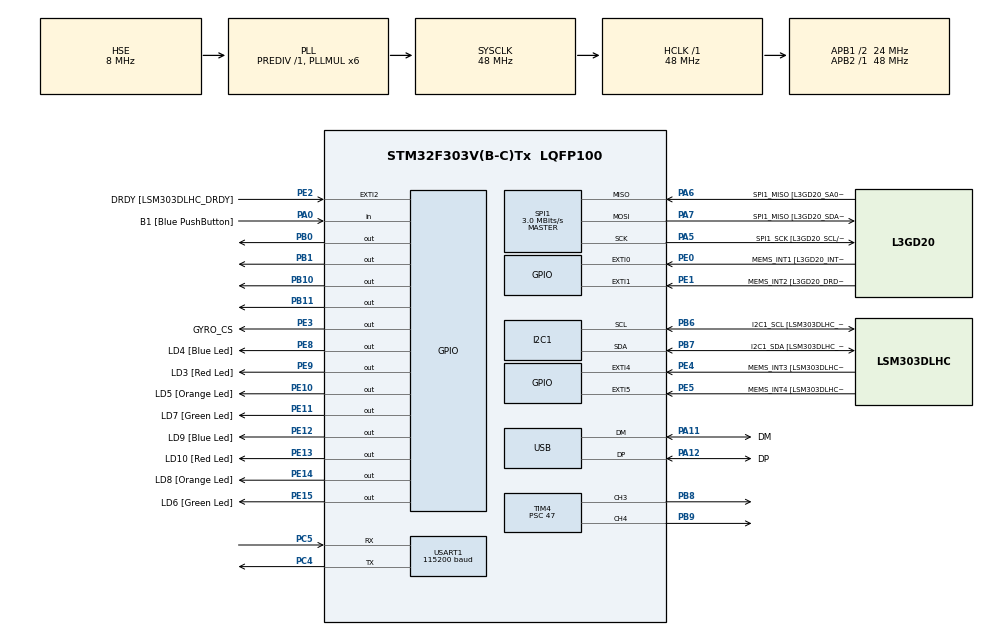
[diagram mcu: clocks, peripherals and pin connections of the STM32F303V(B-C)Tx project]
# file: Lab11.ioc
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I2C1.Timing=0x00201D2B
I2C1.Timing-I2C=0x2000090E
Mcu.Family=STM32F3
Mcu.Name=STM32F303V(B-C)Tx
Mcu.Package=LQFP100
NVIC.PriorityGroup=NVIC_PRIORITYGROUP_0
NVIC.TIM2_IRQn=true\:0\:0\:false\:false\:true\:true\:true\:true
NVIC.USB_LP_CAN_RX0_IRQn=true\:0\:0\:false\:false\:true\:false\:true\:true
PA0.GPIO_Label=B1 [Blue PushButton]
PA0.Signal=GPIO_Input
PA11.GPIO_Label=DM
PA11.Mode=Device
PA11.Signal=USB_DM
PA12.GPIO_Label=DP
PA12.Mode=Device
PA12.Signal=USB_DP
PA13.GPIO_Label=SWDIO
PA13.Mode=Serial_Wire
PA13.Signal=SYS_JTMS-SWDIO
PA14.GPIO_Label=SWCLK
PA14.Mode=Serial_Wire
PA14.Signal=SYS_JTCK-SWCLK
PA5.GPIO_Label=SPI1_SCK [L3GD20_SCL/SPC]
PA5.Mode=Full_Duplex_Master
PA5.Signal=SPI1_SCK
PA6.GPIO_Label=SPI1_MISO [L3GD20_SA0/SDO]
PA6.Mode=Full_Duplex_Master
PA6.Signal=SPI1_MISO
PA7.GPIO_Label=SPI1_MISO [L3GD20_SDA/SDI/SDO]
PA7.Mode=Full_Duplex_Master
PA7.Signal=SPI1_MOSI
PB0.Signal=GPIO_Output
PB1.Signal=GPIO_Output
PB10.Signal=GPIO_Output
PB11.Signal=GPIO_Output
PB3.GPIO_Label=SWO
PB3.Signal=SYS_JTDO-TRACESWO
PB6.GPIO_Label=I2C1_SCL [LSM303DLHC_SCL]
PB6.GPIO_Pu=GPIO_PULLUP
PB6.Mode=I2C
PB6.Signal=I2C1_SCL
PB7.GPIO_Label=I2C1_SDA [LSM303DLHC_SDA]
PB7.GPIO_Pu=GPIO_PULLUP
PB7.Mode=I2C
PB7.Signal=I2C1_SDA
PB8.Signal=S_TIM4_CH3
PB9.Signal=S_TIM4_CH4
PC14-OSC32_IN.GPIO_Label=OSC32_IN
PC14-OSC32_IN.Signal=RCC_OSC32_IN
PC15-OSC32_OUT.GPIO_Label=OSC32_OUT
PC15-OSC32_OUT.Signal=RCC_OSC32_OUT
PC4.Mode=Asynchronous
PC4.Signal=USART1_TX
PC5.Mode=Asynchronous
PC5.Signal=USART1_RX
PE0.GPIO_Label=MEMS_INT1 [L3GD20_INT1]
PE0.GPIO_ModeDefaultEXTI=GPIO_MODE_EVT_RISING
PE0.Signal=GPXTI0
PE1.GPIO_Label=MEMS_INT2 [L3GD20_DRDY/INT2]
PE1.GPIO_ModeDefaultEXTI=GPIO_MODE_EVT_RISING
PE1.Signal=GPXTI1
PE10.GPIO_Label=LD5 [Orange Led]
PE10.Signal=GPIO_Output
PE11.GPIO_Label=LD7 [Green Led]
PE11.Signal=GPIO_Output
PE12.GPIO_Label=LD9 [Blue Led]
PE12.Signal=GPIO_Output
PE13.GPIO_Label=LD10 [Red Led]
PE13.Signal=GPIO_Output
PE14.GPIO_Label=LD8 [Orange Led]
PE14.Signal=GPIO_Output
PE15.GPIO_Label=LD6 [Green Led]
PE15.Signal=GPIO_Output
PE2.GPIO_Label=DRDY [LSM303DLHC_DRDY]
PE2.GPIO_ModeDefaultEXTI=GPIO_MODE_EVT_RISING
PE2.Signal=GPXTI2
PE3.GPIO_Label=GYRO_CS
PE3.PinState=GPIO_PIN_SET
PE3.Signal=GPIO_Output
PE4.GPIO_Label=MEMS_INT3 [LSM303DLHC_INT1]
PE4.GPIO_ModeDefaultEXTI=GPIO_MODE_EVT_RISING
PE4.Signal=GPXTI4
PE5.GPIO_Label=MEMS_INT4 [LSM303DLHC_INT2]
PE5.GPIO_ModeDefaultEXTI=GPIO_MODE_EVT_RISING
PE5.Signal=GPXTI5
PE8.GPIO_Label=LD4 [Blue Led]
PE8.Signal=GPIO_Output
PE9.GPIO_Label=LD3 [Red Led]
PE9.Signal=GPIO_Output
PF0-OSC_IN.GPIO_Label=OSC_IN
PF0-OSC_IN.Mode=HSE-External-Clock-Source
PF0-OSC_IN.Signal=RCC_OSC_IN
PF1-OSC_OUT.GPIO_Label=OSC_OUT
PF1-OSC_OUT.Signal=RCC_OSC_OUT
ProjectManager.HeapSize=0x200
ProjectManager.StackSize=0x400
ProjectManager.TargetToolchain=CMake
RCC.AHBFreq_Value=48000000
RCC.APB1CLKDivider=RCC_HCLK_DIV2
RCC.APB1Freq_Value=24000000
RCC.APB1TimFreq_Value=48000000
RCC.APB2Freq_Value=48000000
RCC.APB2TimFreq_Value=48000000
RCC.CortexFreq_Value=48000000
RCC.HCLKFreq_Value=48000000
RCC.HSE_VALUE=8000000
RCC.HSI_VALUE=8000000
RCC.LSE_VALUE=32768
RCC.PLLMUL=RCC_PLL_MUL6
RCC.SYSCLKFreq_VALUE=48000000
RCC.SYSCLKSourceVirtual=RCC_SYSCLKSOURCE_PLLCLK
RCC.USBFreq_Value=48000000
SH.S_TIM4_CH3.0=TIM4_CH3,PWM Generation3 CH3
SH.S_TIM4_CH4.0=TIM4_CH4,PWM Generation4 CH4
SPI1.BaudRatePrescaler=SPI_BAUDRATEPRESCALER_16
SPI1.BaudRatePrescaler-Full_Duplex_Master=SPI_BAUDRATEPRESCALER_2
SPI1.CLKPhase=SPI_PHASE_2EDGE
SPI1.CLKPolarity=SPI_POLARITY_HIGH
SPI1.CalculateBaudRate=3.0 MBits/s
SPI1.CalculateBaudRate-Full_Duplex_Master=24.0 MBits/s
SPI1.DataSize=SPI_DATASIZE_8BIT
SPI1.Direction=SPI_DIRECTION_2LINES
SPI1.Mode=SPI_MODE_MASTER
SPI1.Mode-Full_Duplex_Master=SPI_MODE_MASTER
SPI1.VirtualType=VM_MASTER
TIM2.Period=9999
TIM2.Prescaler=47
TIM4.Channel-PWM\ Generation3\ CH3=TIM_CHANNEL_3
TIM4.Channel-PWM\ Generation4\ CH4=TIM_CHANNEL_4
TIM4.Period=999
TIM4.Prescaler=47
USART1.BaudRate=115200
USART1.VirtualMode-Asynchronous=VM_ASYNC
USB_DEVICE.CLASS_NAME_FS=CDC
USB_DEVICE.VirtualMode=Cdc
USB_DEVICE.VirtualModeFS=Cdc_FS
VP_TIM2_VS_ClockSourceINT.Mode=Internal
VP_USB_DEVICE_VS_USB_DEVICE_CDC_FS.Mode=CDC_FS
board=STM32F3DISCOVERY

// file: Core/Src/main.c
/* USER CODE BEGIN Header */
/**
  ******************************************************************************
  * @file           : main.c
  * @brief          : Main program body
  ******************************************************************************
  * @attention
  *
  * Copyright (c) 2026 STMicroelectronics.
  * All rights reserved.
  *
  * This software is licensed under terms that can be found in the LICENSE file
  * in the root directory of this software component.
  * If no LICENSE file comes with this software, it is provided AS-IS.
  *
  ******************************************************************************
  */
/* USER CODE END Header */
#include "main.h"
#include "usb_device.h"

/* USER CODE BEGIN Includes */
#include <stdio.h>
#include <math.h>
#include <stdint.h>
#include <string.h>
/* USER CODE END Includes */

/* USER CODE BEGIN PTD */
typedef struct {
    float ax, ay, az;
    float offset_x, offset_y, offset_z;
    float roll, pitch;
} LSM_Data;
/* USER CODE END PTD */

/* USER CODE BEGIN PD */
// Accelerometer definitions, retained from Lab 9
#define LSM303_ADDR (0x19U << 1)
#define WHO_AM_I_REG 0x0FU
#define CTRL_REG1_A 0x20U
#define CTRL_REG4_A 0x23U
#define OUT_X_L_A 0x28U
#define ACC_G_PER_LSB 0.004f
#define RAD_TO_DEG 57.2957795f

// Gyroscope definitions, retained from Lab 8
#define GYRO_CTRL_REG1 0x20U
#define GYRO_OUT_X_L 0x28U
#define GYRO_READ_BIT 0x80U
#define GYRO_SENSITIVITY 0.00875f
#define LOOP_PERIOD_MS 10U
#define FILTER_ALPHA 0.98f

// ===== PD CONTROLLER =====
#define KP 30.0f
#define KD 0.5f

#define MAX_PWM 350
#define MIN_PWM 0

#define ANGLE_DEADBAND 0.5f
#define SAFETY_ANGLE 25.0f
/* USER CODE END PD */

I2C_HandleTypeDef hi2c1;

SPI_HandleTypeDef hspi1;

TIM_HandleTypeDef htim2;
TIM_HandleTypeDef htim4;

UART_HandleTypeDef huart1;

/* USER CODE BEGIN PV */
static LSM_Data sensor = {0};
static float x_dps = 0.0f, y_dps = 0.0f, z_dps = 0.0f;
static float gyro_x_bias = 0.0f;
static float gyro_angle = 0.0f;
static float filtered_angle = 0.0f;
static float acc_angle = 0.0f;
static char uart_buf[128];
static float gyro_y_bias = 0.0f;
static float target_angle = 0.0f;
static int16_t motor_pwm = 0;
/* USER CODE END PV */

void SystemClock_Config(void);
static void MX_GPIO_Init(void);
static void MX_I2C1_Init(void);
static void MX_SPI1_Init(void);
static void MX_TIM2_Init(void);
static void MX_USART1_UART_Init(void);
static void MX_TIM4_Init(void);

/* USER CODE BEGIN 0 */

  uint8_t gyro_read_register(uint8_t reg)
{
    uint8_t tx[2] = {
        (uint8_t)(reg | 0x80),
        0x00
    };

    uint8_t rx[2] = {0};

    HAL_GPIO_WritePin(GPIOE, GPIO_PIN_3, GPIO_PIN_RESET);

    HAL_StatusTypeDef status = HAL_SPI_TransmitReceive(
        &hspi1,
        tx,
        rx,
        2,
        100
    );

    HAL_GPIO_WritePin(GPIOE, GPIO_PIN_3, GPIO_PIN_SET);

    if (status != HAL_OK)
    {
        return 0x00;
    }

    return rx[1];
}
  static HAL_StatusTypeDef Init_LSM(void)
  {
      uint8_t config = 0x67;  // 200 Hz, all axes enabled, normal mode
      if (HAL_I2C_Mem_Write(&hi2c1, LSM303_ADDR, CTRL_REG1_A,
                            I2C_MEMADD_SIZE_8BIT, &config, 1, 100) != HAL_OK)
          return HAL_ERROR;

      config = 0x00;         // +/-2g, normal resolution
      if (HAL_I2C_Mem_Write(&hi2c1, LSM303_ADDR, CTRL_REG4_A,
                            I2C_MEMADD_SIZE_8BIT, &config, 1, 100) != HAL_OK)
          return HAL_ERROR;

      HAL_Delay(50);
      return HAL_OK;
  }

  static HAL_StatusTypeDef Read_LSM(LSM_Data *s)
  {
      uint8_t data[6];
      // Bit 7 requests sequential register-address increment.
      if (HAL_I2C_Mem_Read(&hi2c1, LSM303_ADDR, OUT_X_L_A | 0x80U,
                          I2C_MEMADD_SIZE_8BIT, data, 6, 100) != HAL_OK)
          return HAL_ERROR;

      int16_t raw_x = (int16_t)(((uint16_t)data[1] << 8) | data[0]);
      int16_t raw_y = (int16_t)(((uint16_t)data[3] << 8) | data[2]);
      int16_t raw_z = (int16_t)(((uint16_t)data[5] << 8) | data[4]);

      // LSM303DLHC normal mode: signed 10-bit values left-aligned in 16 bits.
      // Integer division by 64 is used to avoid implementation-specific right
      // shifting of negative signed integers.
      s->ax = (raw_x / 64) * ACC_G_PER_LSB - s->offset_x;
      s->ay = (raw_y / 64) * ACC_G_PER_LSB - s->offset_y;
      s->az = (raw_z / 64) * ACC_G_PER_LSB - s->offset_z;

      s->roll = atan2f(s->ay, sqrtf(s->ax*s->ax + s->az*s->az)) * RAD_TO_DEG;
      s->pitch = atan2f(-s->ax, sqrtf(s->ay*s->ay + s->az*s->az)) * RAD_TO_DEG;
      return HAL_OK;
  }

  static HAL_StatusTypeDef Offset_LSM(LSM_Data *s)
  {
      float sx = 0, sy = 0, sz = 0;
      const int samples = 20;
      s->offset_x = s->offset_y = s->offset_z = 0.0f;

      for (int i = 0; i < samples; ++i)
      {
          if (Read_LSM(s) != HAL_OK)
              return HAL_ERROR;
          sx += s->ax;
          sy += s->ay;
          sz += s->az;
          HAL_Delay(20);
      }
      // Calibrate only while the board is flat and motionless.
      s->offset_x = sx / samples;
      s->offset_y = sy / samples;
      float avg_z = sz / samples;
      s->offset_z = avg_z - ((avg_z >= 0.0f) ? 1.0f : -1.0f);
      return HAL_OK;
  }

// Lab 8 SPI gyroscope functions, adapted for compact 6-byte reads.
static HAL_StatusTypeDef gyro_write_register(uint8_t reg, uint8_t value)
{
    uint8_t tx[2] = {reg, value};
    HAL_GPIO_WritePin(GPIOE, GPIO_PIN_3, GPIO_PIN_RESET);
    HAL_StatusTypeDef rc = HAL_SPI_Transmit(&hspi1, tx, 2, 100);
    HAL_GPIO_WritePin(GPIOE, GPIO_PIN_3, GPIO_PIN_SET);
    return rc;
}

static HAL_StatusTypeDef gyro_read_xyz(void)
{
    // Read X-axis
    uint8_t x_low  = gyro_read_register(0x28);
    uint8_t x_high = gyro_read_register(0x29);

    // Read Y-axis
    uint8_t y_low  = gyro_read_register(0x2A);
    uint8_t y_high = gyro_read_register(0x2B);

    // Read Z-axis
    uint8_t z_low  = gyro_read_register(0x2C);
    uint8_t z_high = gyro_read_register(0x2D);

    // Combine bytes
    int16_t raw_x = (int16_t)(
        ((uint16_t)x_high << 8) | x_low
    );

    int16_t raw_y = (int16_t)(
        ((uint16_t)y_high << 8) | y_low
    );

    int16_t raw_z = (int16_t)(
        ((uint16_t)z_high << 8) | z_low
    );

    // Convert to degrees per second
    x_dps = raw_x * GYRO_SENSITIVITY;
    y_dps = raw_y * GYRO_SENSITIVITY;
    z_dps = raw_z * GYRO_SENSITIVITY;

    return HAL_OK;
}

static HAL_StatusTypeDef calibrate_gyro_x(void)
{
    float sum = 0.0f;
    for (unsigned i = 0; i < 100; ++i) {
        if (gyro_read_xyz() != HAL_OK) return HAL_ERROR;
        sum += x_dps;
        HAL_Delay(10);
    }
    gyro_x_bias = sum / 100.0f;
    return HAL_OK;
}

static HAL_StatusTypeDef calibrate_gyro_y(void)
{
    float sum = 0.0f;

    for (unsigned i = 0; i < 100; i++)
    {
        if (gyro_read_xyz() != HAL_OK)
        {
            return HAL_ERROR;
        }

        sum += y_dps;

        HAL_Delay(10);
    }

    gyro_y_bias = sum / 100.0f;

    return HAL_OK;
}

// static void print_angles(void)
// {
//     int n = snprintf(
//         uart_buf,
//         sizeof(uart_buf),
//         "%.2f,%.2f,%.2f\r\n",
//         (double)acc_angle,
//         (double)gyro_angle,
//         (double)filtered_angle
//     );

//     if (n > 0 && n < (int)sizeof(uart_buf))
//     {
//         HAL_UART_Transmit(
//             &huart1,
//             (uint8_t *)uart_buf,
//             (uint16_t)n,
//             100
//         );
//     }
// }

static void print_angles(void)
{
    float gy = -(y_dps - gyro_y_bias);

    int n = snprintf(
    uart_buf,
    sizeof(uart_buf),
    "Target: %.2f | Angle: %.2f | Gyro: %.2f | PWM: %d\r\n",
    (double)target_angle,
    (double)filtered_angle,
    (double)gy,
    (int)motor_pwm
);

    if (n > 0 && n < (int)sizeof(uart_buf))
    {
        HAL_UART_Transmit(
            &huart1,
            (uint8_t *)uart_buf,
            (uint16_t)n,
            100
        );
    }
}

void Motor_Control(int16_t pwm)
{
    // Limit PWM
    if (pwm > MAX_PWM)
        pwm = MAX_PWM;

    if (pwm < -MAX_PWM)
        pwm = -MAX_PWM;

    // Stop motors
    if (pwm == 0)
    {
        __HAL_TIM_SET_COMPARE(&htim4, TIM_CHANNEL_3, 0);
        __HAL_TIM_SET_COMPARE(&htim4, TIM_CHANNEL_4, 0);

        HAL_GPIO_WritePin(GPIOB,
                          GPIO_PIN_0 | GPIO_PIN_1 |
                          GPIO_PIN_10 | GPIO_PIN_11,
                          GPIO_PIN_RESET);
        return;
    }

    // Forward
    if (pwm > 0)
    {
        HAL_GPIO_WritePin(GPIOB, GPIO_PIN_0, GPIO_PIN_SET);
        HAL_GPIO_WritePin(GPIOB, GPIO_PIN_1, GPIO_PIN_RESET);

        HAL_GPIO_WritePin(GPIOB, GPIO_PIN_10, GPIO_PIN_SET);
        HAL_GPIO_WritePin(GPIOB, GPIO_PIN_11, GPIO_PIN_RESET);
    }
    // Backward
    else
    {
        HAL_GPIO_WritePin(GPIOB, GPIO_PIN_0, GPIO_PIN_RESET);
        HAL_GPIO_WritePin(GPIOB, GPIO_PIN_1, GPIO_PIN_SET);

        HAL_GPIO_WritePin(GPIOB, GPIO_PIN_10, GPIO_PIN_RESET);
        HAL_GPIO_WritePin(GPIOB, GPIO_PIN_11, GPIO_PIN_SET);

        pwm = -pwm;
    }

    __HAL_TIM_SET_COMPARE(&htim4, TIM_CHANNEL_3, pwm);
    __HAL_TIM_SET_COMPARE(&htim4, TIM_CHANNEL_4, pwm);
}

/* USER CODE END 0 */

int main(void)
{

  /* MCU Configuration--------------------------------------------------------*/

  /* Reset of all peripherals, Initializes the Flash interface and the Systick. */
  HAL_Init();

  /* Configure the system clock */
  SystemClock_Config();

  /* Initialize all configured peripherals */
  MX_GPIO_Init();
  MX_I2C1_Init();
  MX_SPI1_Init();
  MX_TIM2_Init();
  MX_USB_DEVICE_Init();
  MX_USART1_UART_Init();
  MX_TIM4_Init();
  /* USER CODE BEGIN 2 */
HAL_Delay(100);

// Check accelerometer
uint8_t id = 0;

if (HAL_I2C_Mem_Read(
        &hi2c1,
        LSM303_ADDR,
        WHO_AM_I_REG,
        I2C_MEMADD_SIZE_8BIT,
        &id,
        1,
        100
    ) != HAL_OK || id != 0x33)
{
    Error_Handler();
}

// Initialize accelerometer
if (Init_LSM() != HAL_OK)
{
    Error_Handler();
}

// Initialize gyroscope
if (gyro_write_register(GYRO_CTRL_REG1, 0x8F) != HAL_OK)
{
    Error_Handler();
}

HAL_Delay(100);

// Temporary: skip flat-board accelerometer offset calibration
sensor.offset_x = 0.0f;
sensor.offset_y = 0.0f;
sensor.offset_z = 0.0f;

if (calibrate_gyro_y() != HAL_OK)
{
    Error_Handler();
}

// Initial angle
if (Read_LSM(&sensor) != HAL_OK)
{
    Error_Handler();
}

acc_angle = sensor.pitch;

filtered_angle = acc_angle;
gyro_angle = acc_angle;

// ===== AUTOMATIC UPRIGHT REFERENCE =====
// Robot must be upright and stationary during startup.

// ===== AUTOMATIC TARGET ANGLE CALIBRATION =====
float angle_sum = 0.0f;

for (int i = 0; i < 100; i++)
{
    if (Read_LSM(&sensor) != HAL_OK)
    {
        Error_Handler();
    }

    angle_sum += sensor.pitch;

    HAL_Delay(10);
}

target_angle = angle_sum / 100.0f;

// Initialize filter at the reference angle
acc_angle = target_angle;
filtered_angle = target_angle;
gyro_angle = target_angle;

// Sampling variables
uint32_t last_sample_ms = HAL_GetTick();
uint32_t next_sample_ms = last_sample_ms + LOOP_PERIOD_MS;

unsigned print_counter = 0;

HAL_TIM_PWM_Start(&htim4, TIM_CHANNEL_3);
HAL_TIM_PWM_Start(&htim4, TIM_CHANNEL_4);

motor_pwm = 0;
Motor_Control(0);

/* USER CODE END 2 */

  /* Infinite loop */
  while (1)
  {

    /* USER CODE BEGIN 3 */
    uint32_t now = HAL_GetTick();

    if ((int32_t)(now - next_sample_ms) >= 0)
    {
        // Calculate elapsed time
        float dt = (now - last_sample_ms) * 0.001f;

        last_sample_ms = now;

        next_sample_ms += LOOP_PERIOD_MS;

        if ((int32_t)(now - next_sample_ms) >= 0)
        {
            next_sample_ms = now + LOOP_PERIOD_MS;
        }

        // Read accelerometer and gyroscope
        if (Read_LSM(&sensor) != HAL_OK ||
            gyro_read_xyz() != HAL_OK)
        {
            Error_Handler();
        }

        // Accelerometer tilt angle
        acc_angle = sensor.pitch;

        // Remove gyroscope bias
        float gy = -(y_dps - gyro_y_bias);
        gyro_angle += gy * dt;

        filtered_angle = FILTER_ALPHA * (filtered_angle + gy * dt)+ (1.0f - FILTER_ALPHA) * acc_angle;

        // Print every 10 samples
        if (++print_counter >= 10U)
        {
            print_counter = 0;
            print_angles();
        }

// ===== PD BALANCING CONTROLLER =====

float error = target_angle - filtered_angle;
float control = KP * error - KD * gy;

if (fabsf(error) > SAFETY_ANGLE ||
    fabsf(error) < ANGLE_DEADBAND)
{
    motor_pwm = 0;
    Motor_Control(0);
}
else
{
    int16_t pwm = (int16_t)control;

    // Limit maximum PWM
    if (pwm > MAX_PWM)  pwm = MAX_PWM;
    if (pwm < -MAX_PWM) pwm = -MAX_PWM;

    // Minimum effective PWM
    if (pwm > 0 && pwm < 300)
        pwm = 300;
    else if (pwm < 0 && pwm > -300)
        pwm = -300;

    // Keep the sign that passed your direction test
    //motor_pwm = -pwm;
Motor_Control(pwm);
}

// ===== MOTOR PWM TEST =====

// Motor_Control(300);
// HAL_Delay(1000);

// Motor_Control(0);
// HAL_Delay(2000);
  }
    // if (gyro_read_xyz() == HAL_OK)
    // {
    //     int len = snprintf(
    //         uart_buf,
    //         sizeof(uart_buf),
    //         "%.2f,%.2f,%.2f\r\n",
    //         (double)x_dps,
    //         (double)y_dps,
    //         (double)z_dps
    //     );

    //     if (len > 0 && len < sizeof(uart_buf))
    //     {
    //         HAL_UART_Transmit(
    //             &huart1,
    //             (uint8_t *)uart_buf,
    //             (uint16_t)len,
    //             100
    //         );
    //     }
    // }

    // // Toggle LD3 (PE9)
    // HAL_GPIO_TogglePin(GPIOE, GPIO_PIN_9);

    // // UART test
    // const char msg[] = "HELLO STM32\r\n";

    // HAL_UART_Transmit(
    //     &huart1,
    //     (uint8_t *)msg,
    //     sizeof(msg) - 1,
    //     100
    // );

    // HAL_Delay(500);

}
  /* USER CODE END 3 */
}

void SystemClock_Config(void)
{
  RCC_OscInitTypeDef RCC_OscInitStruct = {0};
  RCC_ClkInitTypeDef RCC_ClkInitStruct = {0};
  RCC_PeriphCLKInitTypeDef PeriphClkInit = {0};

  /** Initializes the RCC Oscillators according to the specified parameters
  * in the RCC_OscInitTypeDef structure.
  */
  RCC_OscInitStruct.OscillatorType = RCC_OSCILLATORTYPE_HSI|RCC_OSCILLATORTYPE_HSE;
  RCC_OscInitStruct.HSEState = RCC_HSE_BYPASS;
  RCC_OscInitStruct.HSEPredivValue = RCC_HSE_PREDIV_DIV1;
  RCC_OscInitStruct.HSIState = RCC_HSI_ON;
  RCC_OscInitStruct.HSICalibrationValue = RCC_HSICALIBRATION_DEFAULT;
  RCC_OscInitStruct.PLL.PLLState = RCC_PLL_ON;
  RCC_OscInitStruct.PLL.PLLSource = RCC_PLLSOURCE_HSE;
  RCC_OscInitStruct.PLL.PLLMUL = RCC_PLL_MUL6;
  if (HAL_RCC_OscConfig(&RCC_OscInitStruct) != HAL_OK)
  {
    Error_Handler();
  }

  /** Initializes the CPU, AHB and APB buses clocks
  */
  RCC_ClkInitStruct.ClockType = RCC_CLOCKTYPE_HCLK|RCC_CLOCKTYPE_SYSCLK
                              |RCC_CLOCKTYPE_PCLK1|RCC_CLOCKTYPE_PCLK2;
  RCC_ClkInitStruct.SYSCLKSource = RCC_SYSCLKSOURCE_PLLCLK;
  RCC_ClkInitStruct.AHBCLKDivider = RCC_SYSCLK_DIV1;
  RCC_ClkInitStruct.APB1CLKDivider = RCC_HCLK_DIV2;
  RCC_ClkInitStruct.APB2CLKDivider = RCC_HCLK_DIV1;

  if (HAL_RCC_ClockConfig(&RCC_ClkInitStruct, FLASH_LATENCY_1) != HAL_OK)
  {
    Error_Handler();
  }
  PeriphClkInit.PeriphClockSelection = RCC_PERIPHCLK_USB|RCC_PERIPHCLK_USART1
                              |RCC_PERIPHCLK_I2C1;
  PeriphClkInit.Usart1ClockSelection = RCC_USART1CLKSOURCE_PCLK2;
  PeriphClkInit.I2c1ClockSelection = RCC_I2C1CLKSOURCE_HSI;
  PeriphClkInit.USBClockSelection = RCC_USBCLKSOURCE_PLL;
  if (HAL_RCCEx_PeriphCLKConfig(&PeriphClkInit) != HAL_OK)
  {
    Error_Handler();
  }
}

static void MX_I2C1_Init(void)
{

  hi2c1.Instance = I2C1;
  hi2c1.Init.Timing = 0x00201D2B;
  hi2c1.Init.OwnAddress1 = 0;
  hi2c1.Init.AddressingMode = I2C_ADDRESSINGMODE_7BIT;
  hi2c1.Init.DualAddressMode = I2C_DUALADDRESS_DISABLE;
  hi2c1.Init.OwnAddress2 = 0;
  hi2c1.Init.OwnAddress2Masks = I2C_OA2_NOMASK;
  hi2c1.Init.GeneralCallMode = I2C_GENERALCALL_DISABLE;
  hi2c1.Init.NoStretchMode = I2C_NOSTRETCH_DISABLE;
  if (HAL_I2C_Init(&hi2c1) != HAL_OK)
  {
    Error_Handler();
  }

  /** Configure Analogue filter
  */
  if (HAL_I2CEx_ConfigAnalogFilter(&hi2c1, I2C_ANALOGFILTER_ENABLE) != HAL_OK)
  {
    Error_Handler();
  }

  /** Configure Digital filter
  */
  if (HAL_I2CEx_ConfigDigitalFilter(&hi2c1, 0) != HAL_OK)
  {
    Error_Handler();
  }

}

static void MX_SPI1_Init(void)
{

  /* SPI1 parameter configuration*/
  hspi1.Instance = SPI1;
  hspi1.Init.Mode = SPI_MODE_MASTER;
  hspi1.Init.Direction = SPI_DIRECTION_2LINES;
  hspi1.Init.DataSize = SPI_DATASIZE_8BIT;
  hspi1.Init.CLKPolarity = SPI_POLARITY_HIGH;
  hspi1.Init.CLKPhase = SPI_PHASE_2EDGE;
  hspi1.Init.NSS = SPI_NSS_SOFT;
  hspi1.Init.BaudRatePrescaler = SPI_BAUDRATEPRESCALER_16;
  hspi1.Init.FirstBit = SPI_FIRSTBIT_MSB;
  hspi1.Init.TIMode = SPI_TIMODE_DISABLE;
  hspi1.Init.CRCCalculation = SPI_CRCCALCULATION_DISABLE;
  hspi1.Init.CRCPolynomial = 7;
  hspi1.Init.CRCLength = SPI_CRC_LENGTH_DATASIZE;
  hspi1.Init.NSSPMode = SPI_NSS_PULSE_DISABLE;
  if (HAL_SPI_Init(&hspi1) != HAL_OK)
  {
    Error_Handler();
  }

}

static void MX_TIM2_Init(void)
{

  TIM_ClockConfigTypeDef sClockSourceConfig = {0};
  TIM_MasterConfigTypeDef sMasterConfig = {0};

  htim2.Instance = TIM2;
  htim2.Init.Prescaler = 47;
  htim2.Init.CounterMode = TIM_COUNTERMODE_UP;
  htim2.Init.Period = 9999;
  htim2.Init.ClockDivision = TIM_CLOCKDIVISION_DIV1;
  htim2.Init.AutoReloadPreload = TIM_AUTORELOAD_PRELOAD_DISABLE;
  if (HAL_TIM_Base_Init(&htim2) != HAL_OK)
  {
    Error_Handler();
  }
  sClockSourceConfig.ClockSource = TIM_CLOCKSOURCE_INTERNAL;
  if (HAL_TIM_ConfigClockSource(&htim2, &sClockSourceConfig) != HAL_OK)
  {
    Error_Handler();
  }
  sMasterConfig.MasterOutputTrigger = TIM_TRGO_RESET;
  sMasterConfig.MasterSlaveMode = TIM_MASTERSLAVEMODE_DISABLE;
  if (HAL_TIMEx_MasterConfigSynchronization(&htim2, &sMasterConfig) != HAL_OK)
  {
    Error_Handler();
  }

}

static void MX_TIM4_Init(void)
{

  TIM_MasterConfigTypeDef sMasterConfig = {0};
  TIM_OC_InitTypeDef sConfigOC = {0};

  htim4.Instance = TIM4;
  htim4.Init.Prescaler = 47;
  htim4.Init.CounterMode = TIM_COUNTERMODE_UP;
  htim4.Init.Period = 999;
  htim4.Init.ClockDivision = TIM_CLOCKDIVISION_DIV1;
  htim4.Init.AutoReloadPreload = TIM_AUTORELOAD_PRELOAD_DISABLE;
  if (HAL_TIM_PWM_Init(&htim4) != HAL_OK)
  {
    Error_Handler();
  }
  sMasterConfig.MasterOutputTrigger = TIM_TRGO_RESET;
  sMasterConfig.MasterSlaveMode = TIM_MASTERSLAVEMODE_DISABLE;
  if (HAL_TIMEx_MasterConfigSynchronization(&htim4, &sMasterConfig) != HAL_OK)
  {
    Error_Handler();
  }
  sConfigOC.OCMode = TIM_OCMODE_PWM1;
  sConfigOC.Pulse = 0;
  sConfigOC.OCPolarity = TIM_OCPOLARITY_HIGH;
  sConfigOC.OCFastMode = TIM_OCFAST_DISABLE;
  if (HAL_TIM_PWM_ConfigChannel(&htim4, &sConfigOC, TIM_CHANNEL_3) != HAL_OK)
  {
    Error_Handler();
  }
  if (HAL_TIM_PWM_ConfigChannel(&htim4, &sConfigOC, TIM_CHANNEL_4) != HAL_OK)
  {
    Error_Handler();
  }
  HAL_TIM_MspPostInit(&htim4);

}

static void MX_USART1_UART_Init(void)
{

  huart1.Instance = USART1;
  huart1.Init.BaudRate = 115200;
  huart1.Init.WordLength = UART_WORDLENGTH_8B;
  huart1.Init.StopBits = UART_STOPBITS_1;
  huart1.Init.Parity = UART_PARITY_NONE;
  huart1.Init.Mode = UART_MODE_TX_RX;
  huart1.Init.HwFlowCtl = UART_HWCONTROL_NONE;
  huart1.Init.OverSampling = UART_OVERSAMPLING_16;
  huart1.Init.OneBitSampling = UART_ONE_BIT_SAMPLE_DISABLE;
  huart1.AdvancedInit.AdvFeatureInit = UART_ADVFEATURE_NO_INIT;
  if (HAL_UART_Init(&huart1) != HAL_OK)
  {
    Error_Handler();
  }

}

static void MX_GPIO_Init(void)
{
  GPIO_InitTypeDef GPIO_InitStruct = {0};

  /* GPIO Ports Clock Enable */
  __HAL_RCC_GPIOE_CLK_ENABLE();
  __HAL_RCC_GPIOC_CLK_ENABLE();
  __HAL_RCC_GPIOF_CLK_ENABLE();
  __HAL_RCC_GPIOA_CLK_ENABLE();
  __HAL_RCC_GPIOB_CLK_ENABLE();

  /*Configure GPIO pin Output Level */
  HAL_GPIO_WritePin(GYRO_CS_GPIO_Port, GYRO_CS_Pin, GPIO_PIN_SET);

  /*Configure GPIO pin Output Level */
  HAL_GPIO_WritePin(GPIOB, GPIO_PIN_0|GPIO_PIN_1|GPIO_PIN_10|GPIO_PIN_11, GPIO_PIN_RESET);

  /*Configure GPIO pin Output Level */
  HAL_GPIO_WritePin(GPIOE, LD4_Pin|LD3_Pin|LD5_Pin|LD7_Pin
                          |LD9_Pin|LD10_Pin|LD8_Pin|LD6_Pin, GPIO_PIN_RESET);

  /*Configure GPIO pins : DRDY_Pin MEMS_INT3_Pin MEMS_INT4_Pin MEMS_INT1_Pin
                           MEMS_INT2_Pin */
  GPIO_InitStruct.Pin = DRDY_Pin|MEMS_INT3_Pin|MEMS_INT4_Pin|MEMS_INT1_Pin
                          |MEMS_INT2_Pin;
  GPIO_InitStruct.Mode = GPIO_MODE_EVT_RISING;
  GPIO_InitStruct.Pull = GPIO_NOPULL;
  HAL_GPIO_Init(GPIOE, &GPIO_InitStruct);

  /*Configure GPIO pins : GYRO_CS_Pin LD4_Pin LD3_Pin LD5_Pin
                           LD7_Pin LD9_Pin LD10_Pin LD8_Pin
                           LD6_Pin */
  GPIO_InitStruct.Pin = GYRO_CS_Pin|LD4_Pin|LD3_Pin|LD5_Pin
                          |LD7_Pin|LD9_Pin|LD10_Pin|LD8_Pin
                          |LD6_Pin;
  GPIO_InitStruct.Mode = GPIO_MODE_OUTPUT_PP;
  GPIO_InitStruct.Pull = GPIO_NOPULL;
  GPIO_InitStruct.Speed = GPIO_SPEED_FREQ_LOW;
  HAL_GPIO_Init(GPIOE, &GPIO_InitStruct);

  /*Configure GPIO pin : B1_Pin */
  GPIO_InitStruct.Pin = B1_Pin;
  GPIO_InitStruct.Mode = GPIO_MODE_INPUT;
  GPIO_InitStruct.Pull = GPIO_NOPULL;
  HAL_GPIO_Init(B1_GPIO_Port, &GPIO_InitStruct);

  /*Configure GPIO pins : PB0 PB1 PB10 PB11 */
  GPIO_InitStruct.Pin = GPIO_PIN_0|GPIO_PIN_1|GPIO_PIN_10|GPIO_PIN_11;
  GPIO_InitStruct.Mode = GPIO_MODE_OUTPUT_PP;
  GPIO_InitStruct.Pull = GPIO_NOPULL;
  GPIO_InitStruct.Speed = GPIO_SPEED_FREQ_LOW;
  HAL_GPIO_Init(GPIOB, &GPIO_InitStruct);

}

void Error_Handler(void)
{
  /* USER CODE BEGIN Error_Handler_Debug */

  // Stop both motors
  __HAL_TIM_SET_COMPARE(&htim4, TIM_CHANNEL_3, 0);
  __HAL_TIM_SET_COMPARE(&htim4, TIM_CHANNEL_4, 0);

  // Set all motor direction pins LOW
  HAL_GPIO_WritePin(GPIOB,
      GPIO_PIN_0 | GPIO_PIN_1 |
      GPIO_PIN_10 | GPIO_PIN_11,
      GPIO_PIN_RESET);

  __disable_irq();

  while (1)
  {
  }

  /* USER CODE END Error_Handler_Debug */
}
